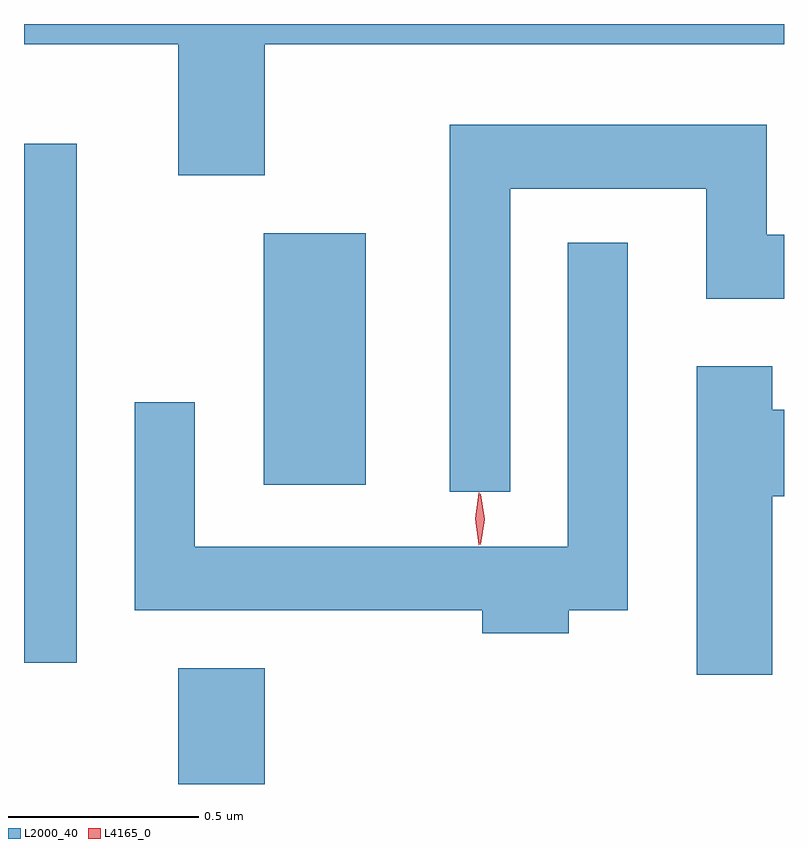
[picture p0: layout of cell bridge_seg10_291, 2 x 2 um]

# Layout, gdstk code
import gdstk
lib = gdstk.Library(unit=1e-6, precision=1e-09)
def R(c, l, rs):  # rectangles x0, y0, x1, y1
    for r in rs: c.add(gdstk.rectangle(r[:2], r[2:], *l))
def P(c, l, *ps):  # polygons
    for p in ps: c.add(gdstk.Polygon(p, *l))
L2000_40 = (2000, 40)
L4165_0 = (4165, 0)

bridge_seg10_291 = lib.new_cell('bridge_seg10_291')
R(bridge_seg10_291, L2000_40, [(1805.301,2098.649,1805.529,2098.954), (1804.895,2098.968,1805.034,2100.334), (1805.526,2099.436,1805.794,2100.099)])
P(bridge_seg10_291, L2000_40, [(1805.529,2100.596),(1806.895,2100.596),(1806.895,2100.649),(1804.895,2100.649),(1804.895,2100.596),(1805.301,2100.596),(1805.301,2100.251),(1805.529,2100.251)],
  [(1806.174,2100.216),(1806.691,2100.216),(1806.691,2099.926),(1806.895,2099.926),(1806.895,2100.094),(1806.849,2100.094),(1806.849,2100.384),(1806.016,2100.384),(1806.016,2099.418),(1806.174,2099.418)],
  [(1806.329,2099.106),(1806.484,2099.106),(1806.484,2100.073),(1806.326,2100.073),(1806.326,2099.274),(1805.344,2099.274),(1805.344,2099.653),(1805.186,2099.653),(1805.186,2099.106),(1806.101,2099.106),(1806.101,2099.046),(1806.329,2099.046)],
  [(1806.864,2099.406),(1806.895,2099.406),(1806.895,2099.634),(1806.864,2099.634),(1806.864,2099.749),(1806.666,2099.749),(1806.666,2098.936),(1806.864,2098.936)])
P(bridge_seg10_291, L4165_0, [(1806.097,2099.279),(1806.096,2099.28),(1806.087,2099.346),(1806.096,2099.412),(1806.097,2099.413),(1806.097,2099.412),(1806.107,2099.346),(1806.097,2099.28)],
  [(1806.092,2099.277),(1806.092,2099.278),(1806.082,2099.347),(1806.092,2099.416),(1806.092,2099.416),(1806.093,2099.416),(1806.102,2099.347),(1806.093,2099.278)])

lib.write_gds('bridge_seg10_291.gds')
